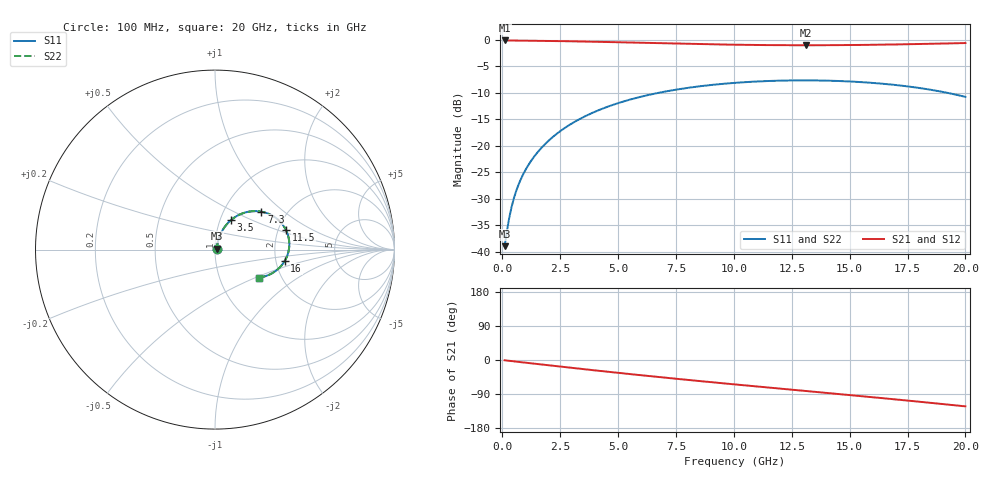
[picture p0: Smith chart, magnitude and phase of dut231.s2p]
! Touchstone file exported from HFSS 2026.1.0
!  File:  C:/ffzhzh/LocalFiles/Ansys_Project_Files/temp_train_TSV_RDL_231_1783064706_17544.aedt
!  Generated:  03:55:17 PM Jul  3, 2026
!  Design:  TSV_RDL
!  Project:  temp_train_TSV_RDL_231_1783064706_17544
! Variables:
!  h_bsmrdl = 2.74um
!  h_ox = 20um
!  h_rdl = 5um
!  h_sub = 99.84um
!  h_tmrdl = 2.44um
!  h_tsv = 99.84um
!  h_via = 3um
!  l_bsmrdl = 134.65um
!  l_sub = 1768.99um
!  l_tmrdl = 204.69um
!  m_sub = 200um
!  pitch = 56.55um
!  r_tsv = 12.55um
!  s_tmrdl = 10um
!  w_bsmrdl = 29.52um
!  w_sub = 500um
!  w_tmrdl = 19.24um
!  x_tsv_center1 = 214.31um
!  x_tsv_center2 = 378.48um
!  x_tsv_center3 = 602.41um
!  x_tsv_center4 = 766.58um
!  x_tsv_center5 = 990.51um
!  x_tsv_center6 = 1154.68um
# GHz S MA R 50.000000
! Terminal data exported
! Port[1] = TM_RDL1_1_T1
! Port[2] = TM_RDL5_1_T1
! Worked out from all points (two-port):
!   200 points, 100 MHz to 20 GHz, reference 50 ohm
!   highest |S21| = -0.08 dB at 100 MHz (marker M1); lowest = -1.0 dB at 13.1 GHz (marker M2)
!   |S21| within 3 dB of the highest: start of sweep to end of sweep
!   lowest |S11| = -38.9 dB at 100 MHz (marker M3), VSWR 1.02, Z = 51 + j0.62 ohm
!   |S11| at or under -10 dB: start of sweep to 6.723 GHz; 19.25 GHz to end of sweep
!   |S22| runs from -38.9 to -7.6 dB; largest |S21 - S12| = 1.6e-14
!   S11 on the Smith chart (normalised r, x): 100 MHz: 1.02, +0.01; 3.5 GHz: 1.13, +0.38; 7.3 GHz: 1.50, +0.71; 11.5 GHz: 2.20, +0.58; 16 GHz: 2.23, -0.34; 20 GHz: 1.54, -0.52
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0.1  0.01129 32.6  0.9905 -0.7  0.9905 -0.7  0.01129 32.6
! Gamma 0 0 0 0
! Port Impedance 50 0 50 0
0.3  0.02093 59.3  0.9898 -2.2  0.9898 -2.2  0.02093 59.3
0.4  0.02643 64.0  0.9893 -2.9  0.9893 -2.9  0.02643 64.0
0.5  0.03198 66.7  0.9888 -3.6  0.9888 -3.6  0.03198 66.7
0.6  0.0375 68.4  0.9882 -4.3  0.9882 -4.3  0.0375 68.4
0.8  0.04842 70.1  0.987 -5.7  0.987 -5.7  0.04842 70.1
1.1  0.06454 70.9  0.9854 -7.8  0.9854 -7.8  0.06454 70.9
1.6  0.09104 70.3  0.9826 -11.2  0.9826 -11.2  0.09104 70.3
2.1  0.1171 68.6  0.9795 -14.6  0.9795 -14.6  0.1171 68.6
2.7  0.1478 65.9  0.9751 -18.7  0.9751 -18.7  0.1478 65.9
3.5  0.1869 61.6  0.9681 -24.1  0.9681 -24.1  0.1869 61.6
5  0.2533 52.8  0.9526 -33.9  0.9526 -33.9  0.2533 52.8
6.8  0.3187 42.1  0.9324 -45.2  0.9324 -45.2  0.3187 42.1
7.3  0.3339 39.2  0.927 -48.3  0.927 -48.3  0.3339 39.2
10.1  0.3948 23.2  0.9025 -64.8  0.9025 -64.8  0.3948 23.2
11.5  0.4102 15.5  0.8955 -72.7  0.8955 -72.7  0.4102 15.5
13.1  0.4158 6.7  0.8926 -81.7  0.8926 -81.7  0.4158 6.7
13.4  0.4155 5.1  0.8927 -83.4  0.8927 -83.4  0.4155 5.0
16  0.3935 -9.3  0.9015 -98.2  0.9015 -98.2  0.3935 -9.3
16.7  0.3816 -13.3  0.9061 -102.3  0.9061 -102.3  0.3816 -13.3
18.4  0.3418 -23.0  0.9204 -112.4  0.9204 -112.4  0.3418 -23.0
20  0.2902 -32.5  0.9361 -122.4  0.9361 -122.4  0.2902 -32.5
